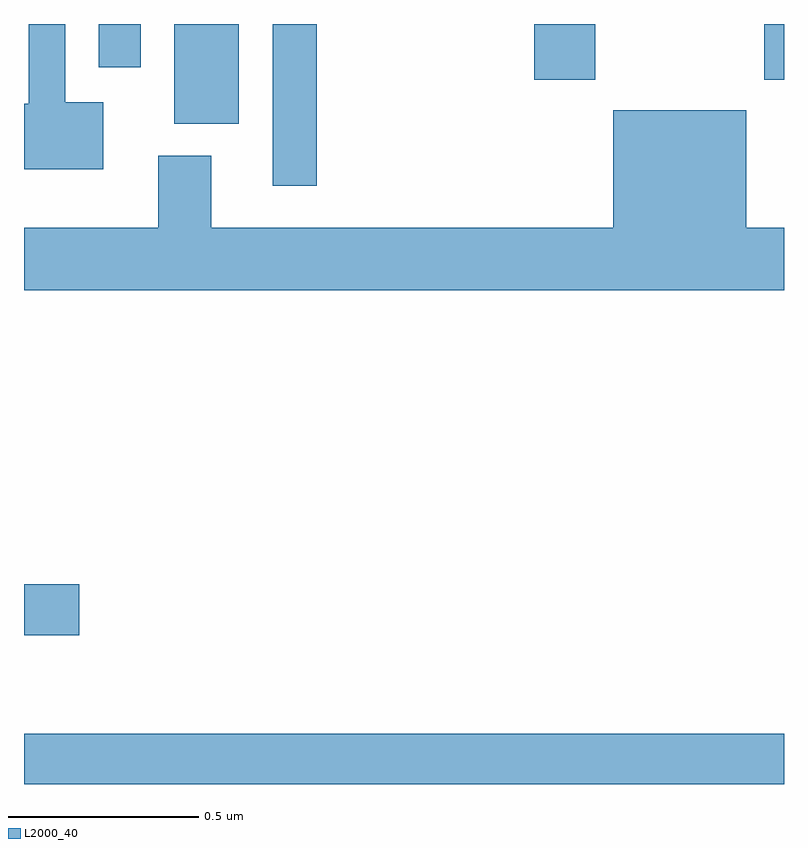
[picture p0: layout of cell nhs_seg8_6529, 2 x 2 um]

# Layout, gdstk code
import gdstk
lib = gdstk.Library(unit=1e-6, precision=1e-09)
def R(c, l, rs):  # rectangles x0, y0, x1, y1
    for r in rs: c.add(gdstk.rectangle(r[:2], r[2:], *l))
def P(c, l, *ps):  # polygons
    for p in ps: c.add(gdstk.Polygon(p, *l))
L2000_40 = (2000, 40)

nhs_seg8_6529 = lib.new_cell('nhs_seg8_6529')
R(nhs_seg8_6529, L2000_40, [(198,1081.9,200,1082.032), (198,1082.291,198.145,1082.426), (198.654,1083.474,198.77,1083.9), (198.395,1083.638,198.565,1083.9), (199.343,1083.753,199.503,1083.9), (199.948,1083.753,200,1083.9), (198.197,1083.786,198.307,1083.9)])
P(nhs_seg8_6529, L2000_40, [(198.208,1083.694),(198.108,1083.694),(198.108,1083.9),(198.012,1083.9),(198.012,1083.69),(198,1083.69),(198,1083.518),(198.208,1083.518)],
  [(200,1083.364),(199.9,1083.364),(199.9,1083.673),(199.55,1083.673),(199.55,1083.364),(198.493,1083.364),(198.493,1083.553),(198.353,1083.553),(198.353,1083.364),(198,1083.364),(198,1083.2),(200,1083.2)])

lib.write_gds('nhs_seg8_6529.gds')
